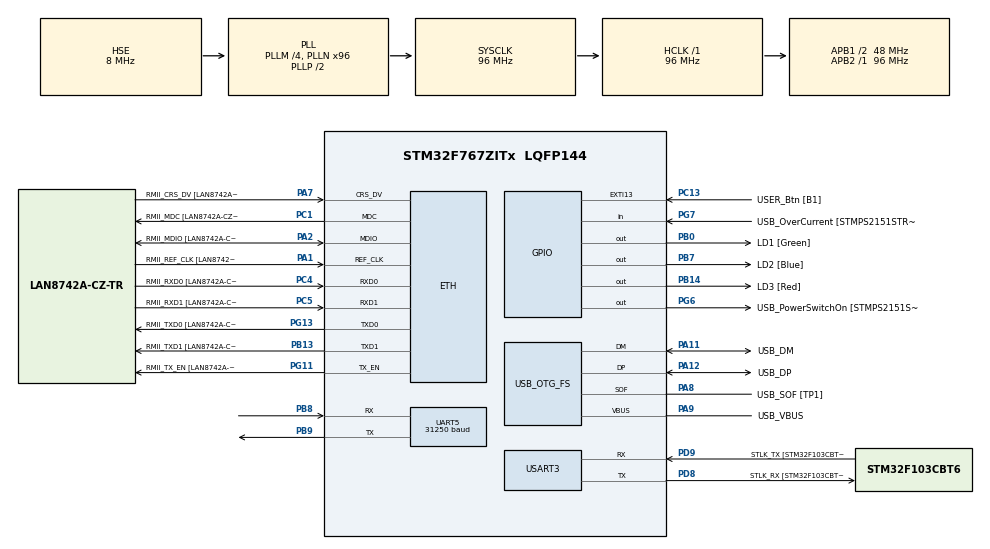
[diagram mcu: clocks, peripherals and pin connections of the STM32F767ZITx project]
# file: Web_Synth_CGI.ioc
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ETH.MediaInterface=ETH_MEDIA_INTERFACE_RMII
ETH.PHY_Name=LAN8742A_PHY_ADDRESS
ETH.PHY_Value=0
ETH.PhyAddress=0
LWIP.LWIP_HTTPD=1
LWIP.LWIP_HTTPD_CGI=1
LWIP.LWIP_HTTPD_MAX_TAG_NAME_LEN=16
LWIP.LWIP_HTTPD_SSI=1
LWIP.Version=v2.1.2_Cube
Mcu.Family=STM32F7
Mcu.Name=STM32F767ZITx
Mcu.Package=LQFP144
NVIC.PriorityGroup=NVIC_PRIORITYGROUP_4
PA1.GPIO_Label=RMII_REF_CLK [LAN8742A-CZ-TR_REFCLK0]
PA1.Mode=RMII
PA1.Signal=ETH_REF_CLK
PA10.GPIO_Label=USB_ID
PA10.Signal=USB_OTG_FS_ID
PA11.GPIO_Label=USB_DM
PA11.Mode=Device_Only
PA11.Signal=USB_OTG_FS_DM
PA12.GPIO_Label=USB_DP
PA12.Mode=Device_Only
PA12.Signal=USB_OTG_FS_DP
PA13.GPIO_Label=TMS
PA13.Mode=Serial_Wire
PA13.Signal=SYS_JTMS-SWDIO
PA14.GPIO_Label=TCK
PA14.Mode=Serial_Wire
PA14.Signal=SYS_JTCK-SWCLK
PA2.GPIO_Label=RMII_MDIO [LAN8742A-CZ-TR_MDIO]
PA2.Mode=RMII
PA2.Signal=ETH_MDIO
PA7.GPIO_Label=RMII_CRS_DV [LAN8742A-CZ-TR_CRS_DV]
PA7.Mode=RMII
PA7.Signal=ETH_CRS_DV
PA8.GPIO_Label=USB_SOF [TP1]
PA8.Mode=Activate_SOF_FS
PA8.Signal=USB_OTG_FS_SOF
PA9.GPIO_Label=USB_VBUS
PA9.Mode=Activate_VBUS
PA9.Signal=USB_OTG_FS_VBUS
PB0.GPIO_Label=LD1 [Green]
PB0.Signal=GPIO_Output
PB13.GPIO_Label=RMII_TXD1 [LAN8742A-CZ-TR_TXD1]
PB13.Mode=RMII
PB13.Signal=ETH_TXD1
PB14.GPIO_Label=LD3 [Red]
PB14.GPIO_PuPd=GPIO_PULLUP
PB14.Signal=GPIO_Output
PB3.GPIO_Label=SWO
PB3.Signal=SYS_JTDO-SWO
PB7.GPIO_Label=LD2 [Blue]
PB7.GPIO_PuPd=GPIO_PULLUP
PB7.Signal=GPIO_Output
PB8.Mode=Asynchronous
PB8.Signal=UART5_RX
PB9.Mode=Asynchronous
PB9.Signal=UART5_TX
PC1.GPIO_Label=RMII_MDC [LAN8742A-CZ-TR_MDC]
PC1.Mode=RMII
PC1.Signal=ETH_MDC
PC13.GPIO_Label=USER_Btn [B1]
PC13.Signal=GPXTI13
PC14/OSC32_IN.Mode=LSE-External-Oscillator
PC14/OSC32_IN.Signal=RCC_OSC32_IN
PC15/OSC32_OUT.Mode=LSE-External-Oscillator
PC15/OSC32_OUT.Signal=RCC_OSC32_OUT
PC4.GPIO_Label=RMII_RXD0 [LAN8742A-CZ-TR_RXD0]
PC4.Mode=RMII
PC4.Signal=ETH_RXD0
PC5.GPIO_Label=RMII_RXD1 [LAN8742A-CZ-TR_RXD1]
PC5.Mode=RMII
PC5.Signal=ETH_RXD1
PD8.GPIO_Label=STLK_RX [STM32F103CBT6_PA3]
PD8.Mode=Asynchronous
PD8.Signal=USART3_TX
PD9.GPIO_Label=STLK_TX [STM32F103CBT6_PA2]
PD9.Mode=Asynchronous
PD9.Signal=USART3_RX
PG11.GPIO_Label=RMII_TX_EN [LAN8742A-CZ-TR_TXEN]
PG11.Mode=RMII
PG11.Signal=ETH_TX_EN
PG13.GPIO_Label=RMII_TXD0 [LAN8742A-CZ-TR_TXD0]
PG13.Mode=RMII
PG13.Signal=ETH_TXD0
PG6.GPIO_Label=USB_PowerSwitchOn [STMPS2151STR_EN]
PG6.Signal=GPIO_Output
PG7.GPIO_Label=USB_OverCurrent [STMPS2151STR_FAULT]
PG7.Signal=GPIO_Input
PH0/OSC_IN.GPIO_Label=MCO [STM32F103CBT6_PA8]
PH0/OSC_IN.Mode=HSE-External-Clock-Source
PH0/OSC_IN.Signal=RCC_OSC_IN
PH1/OSC_OUT.Mode=HSE-External-Clock-Source
PH1/OSC_OUT.Signal=RCC_OSC_OUT
ProjectManager.HeapSize=0x200
ProjectManager.StackSize=0x400
ProjectManager.TargetToolchain=STM32CubeIDE
RCC.48MHZClocksFreq_Value=24000000
RCC.AHBFreq_Value=96000000
RCC.APB1CLKDivider=RCC_HCLK_DIV2
RCC.APB1Freq_Value=48000000
RCC.APB1TimFreq_Value=96000000
RCC.APB2Freq_Value=96000000
RCC.APB2TimFreq_Value=96000000
RCC.CortexFreq_Value=96000000
RCC.HCLKFreq_Value=96000000
RCC.HSE_VALUE=8000000
RCC.HSI_VALUE=16000000
RCC.PLLM=4
RCC.PLLMUL=RCC_PLL_MUL9
RCC.PLLN=96
RCC.PLLQ=4
RCC.PRESCALERUSB=RCC_USBCLKSOURCE_PLL_DIV1_5
RCC.SYSCLKFreq_VALUE=96000000
RCC.SYSCLKSource=RCC_SYSCLKSOURCE_PLLCLK
RCC.SYSCLKSourceVirtual=RCC_SYSCLKSOURCE_PLLCLK
RCC.USBFreq_Value=48000000
RCC.VCOOutputFreq_Value=192000000
UART5.BaudRate=31250
USART3.VirtualMode-Asynchronous=VM_ASYNC
USB_OTG_FS.VirtualMode=Device_Only
VP_LWIP_VS_Enabled.Mode=Enabled
board=NUCLEO-F767ZI

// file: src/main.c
/* USER CODE BEGIN Header */
/**
  ******************************************************************************
  * @file           : main.c
  * @brief          : Main program body
  ******************************************************************************
  * @attention
  *
  * <h2><center>&copy; Copyright (c) 2021 STMicroelectronics.
  * All rights reserved.</center></h2>
  *
  * This software component is licensed by ST under BSD 3-Clause license,
  * the "License"; You may not use this file except in compliance with the
  * License. You may obtain a copy of the License at:
  *                        opensource.org/licenses/BSD-3-Clause
  *
  ******************************************************************************
  */
/* USER CODE END Header */
#include "main.h"
#include "lwip.h"

/* USER CODE BEGIN Includes */

// including httpd.h [- HTTPd #1 -]
#include "lwip/apps/httpd.h"

// we include String.h for the strcmp() function [= CGI #1 =]
#include <String.h>

// we include this library to be able to use boolean variables for SSI
#include <Stdbool.h>

bool LD1ON = false; // this variable will indicate if the LD3 LED on the board is ON or not
bool LD2ON = false; // this variable will indicate if our LD2 LED on the board is ON or not

/* USER CODE END Includes */

UART_HandleTypeDef huart5;
UART_HandleTypeDef huart3;

PCD_HandleTypeDef hpcd_USB_OTG_FS;

/* USER CODE BEGIN PV */

bool onOff[15];

// just declaring the function for the compiler [= CGI #2 =]
const char* LedCGIhandler(int iIndex, int iNumParams, char *pcParam[],
char *pcValue[]);

// in our SHTML file <form method="get" action="/leds.cgi"> [= CGI #3 =]
const tCGI LedCGI = { "/leds.cgi", LedCGIhandler };

// [= CGI #4 =]
tCGI theCGItable[1];

// just declaring SSI handler function [* SSI #1 *]
u16_t mySSIHandler(int iIndex, char *pcInsert, int iInsertLen);

// [= SSI #2 =]
#define numSSItags 15

// [= SSI #1 =]
const char *theSSItags[numSSItags] = { "tag1", "tag2", "tag3", "tag4", "tag5", "tag6", "tag7", "tag8","tag9", "tag10", "tag11", "tag12", "tag13", "tag14" ,"tag15" };

// strings to be returned by SSI handler, depending on whether variable is "checked" or "unchecked"
// REPLACE with sprintf string builder, to save memory
char * myStr[2][numSSItags] = {{
		"<input value = \"1\" name=\"led\" class = \"wshape\" type = \"checkbox\" onclick = \"handleClick(this)\">",
		"<input value = \"2\" name=\"led\" class = \"wshape\" onclick = \"handleClick(this)\" type = \"checkbox\">",
		"<input value = \"3\" name=\"led\" class = \"wshape\" onclick = \"handleClick(this)\" type = \"checkbox\">",
		"<input value = \"4\" name=\"led\" class = \"wshape\" onclick = \"handleClick(this)\" type = \"checkbox\">",
		"<input value = \"5\" name=\"led\" class = \"octave\" onclick = \"handleClick(this)\" type = \"checkbox\">",
		"<input value = \"6\" name=\"led\" class = \"octave\" onclick = \"handleClick(this)\" type = \"checkbox\">",
		"<input value = \"7\" name=\"led\" class = \"octave\" onclick = \"handleClick(this)\" type = \"checkbox\">",
		"<input value = \"8\" name=\"led\" class = \"octave\" onclick = \"handleClick(this)\" type = \"checkbox\">",
		"<input value = \"9\" name=\"led\" class = \"octave\" onclick = \"handleClick(this)\" type = \"checkbox\">",
		"<input value = \"10\" name=\"led\" class = \"filt\" onclick = \"handleClick(this)\" type = \"checkbox\">",
		"<input value = \"11\" name=\"led\" class = \"filt\" onclick = \"handleClick(this)\" type = \"checkbox\">",
		"<input value = \"12\" name=\"led\" class = \"filt\" onclick = \"handleClick(this)\" type = \"checkbox\">",
		"<input value = \"13\" name=\"led\" class = \"filt\" onclick = \"handleClick(this)\" type = \"checkbox\">",
		"<input value = \"14\" name=\"led\" class = \"audioFX\" onclick = \"handleClick(this)\" type = \"checkbox\">",
		"<input value = \"15\" name=\"led\" class = \"audioFX\" onclick = \"handleClick(this)\" type = \"checkbox\">"},

		{"<input value = \"1\" name=\"led\" class = \"wshape\" onclick = \"handleClick(this)\" type = \"checkbox\"checked>",
		"<input value = \"2\" name=\"led\" class = \"wshape\" onclick = \"handleClick(this)\" type = \"checkbox\"checked>",
		"<input value = \"3\" name=\"led\" class = \"wshape\" onclick = \"handleClick(this)\" type = \"checkbox\"checked>",
		"<input value = \"4\" name=\"led\" class = \"wshape\" onclick = \"handleClick(this)\" type = \"checkbox\"checked>",
		"<input value = \"5\" name=\"led\" class = \"octave\" onclick = \"handleClick(this)\" type = \"checkbox\"checked>",
		"<input value = \"6\" name=\"led\" class = \"octave\" onclick = \"handleClick(this)\" type = \"checkbox\"checked>",
		"<input value = \"7\" name=\"led\" class = \"octave\" onclick = \"handleClick(this)\" type = \"checkbox\"checked>",
		"<input value = \"8\" name=\"led\" class = \"octave\" onclick = \"handleClick(this)\" type = \"checkbox\"checked>",
		"<input value = \"9\" name=\"led\" class = \"octave\" onclick = \"handleClick(this)\" type = \"checkbox\"checked>",
		"<input value = \"10\" name=\"led\" class = \"filt\" onclick = \"handleClick(this)\" type = \"checkbox\"checked>",
		"<input value = \"11\" name=\"led\" class = \"filt\" onclick = \"handleClick(this)\" type = \"checkbox\"checked>",
		"<input value = \"12\" name=\"led\" class = \"filt\" onclick = \"handleClick(this)\" type = \"checkbox\"checked>",
		"<input value = \"13\" name=\"led\" class = \"filt\" onclick = \"handleClick(this)\" type = \"checkbox\"checked>",
		"<input value = \"14\" name=\"led\" class = \"audioFX\" onclick = \"handleClick(this)\" type = \"checkbox\"checked>",
		"<input value = \"15\" name=\"led\" class = \"audioFX\" onclick = \"handleClick(this)\" type = \"checkbox\"checked>"

}};

/* USER CODE END PV */

void SystemClock_Config(void);
static void MX_GPIO_Init(void);
static void MX_USART3_UART_Init(void);
static void MX_USB_OTG_FS_PCD_Init(void);
static void MX_UART5_Init(void);

/* USER CODE BEGIN 0 */
// the actual function for handling CGI [= CGI #5 =]
const char* LedCGIhandler(int iIndex, int iNumParams, char *pcParam[],
char *pcValue[]) {

	uint32_t i = 0;
	const int numChannels = 3;
	uint8_t ctrData[numChannels];

	if (iIndex == 0) {

		//DEBUG -- turning the LED lights off
		HAL_GPIO_WritePin(LD2_GPIO_Port, LD2_Pin, GPIO_PIN_RESET);
		HAL_GPIO_WritePin(LD3_GPIO_Port, LD3_Pin, GPIO_PIN_RESET);
		HAL_GPIO_WritePin(GPIOB, GPIO_PIN_0, GPIO_PIN_RESET);

		// set perams to "unchecked"
		for (int i = 0; i < numSSItags; i++)
		{
			onOff[i] = false;
		}
	 }
	for (i = 0; i < iNumParams; i++) {

		// cycle through perameters
		for (int x = 0; x < 15; x++) {

			char num;
			sprintf(num, "%d", x + 1);

			// find "checked" perameters
			if (strcmp(pcValue[i], num) == 0) {

				//DEBUG
				if (x == 0)
				{
					HAL_GPIO_WritePin(LD3_GPIO_Port, LD3_Pin, GPIO_PIN_SET);
				} else if (x == 1)
				{
					HAL_GPIO_WritePin(LD2_GPIO_Port, LD2_Pin, GPIO_PIN_SET);
				} else if (x == 2)
				{
					HAL_GPIO_WritePin(GPIOB, GPIO_PIN_0, GPIO_PIN_SET);
				}

				onOff[x] = true;

				// select appropriate txData
				if (x < 4)		// wshape
				{
					ctrData[0] = x;
					uint8_t txData[3] = {0x90, 0x00, ctrData[0]};
					HAL_UART_Transmit(&huart5, txData, 3, 10);

				} else if (x < 9)		//octave
				{
					ctrData[1] = x - 4;
					uint8_t txData[3] = {0x90, 0x01, ctrData[1]};
					HAL_UART_Transmit(&huart5, txData, 3, 10);

				} else if (x < 13)		//filter
				{
					ctrData[2] = x - 9;
					uint8_t txData[3] = {0x90, 0x02, ctrData[2]};
					HAL_UART_Transmit(&huart5, txData, 3, 10);

				}
				else if (x < 15)		//delayTog
				{
					ctrData[3] = x - 13;
					uint8_t txData[3] = {0x90, 0x03, ctrData[3]};
					HAL_UART_Transmit(&huart5, txData, 3, 10);
				}
			}
		}
	}

	// the extension .shtml for SSI to work
	return "/index.shtml";

} // END [= CGI #5 =]

                    // function to initialize CGI [= CGI #6 =]
void myCGIinit(void) {
//add LED control CGI to the table
theCGItable[0] = LedCGI;
//give the table to the HTTP server
http_set_cgi_handlers(theCGItable, 1);
} // END [= CGI #6 =]

// the actual function for SSI [* SSI #4 *]
u16_t mySSIHandler(int iIndex, char *pcInsert, int iInsertLen) {

	char * s;

	if (onOff[iIndex] == false)
	{
		s = myStr[0][iIndex];

	} else if (onOff[iIndex] == true)

	{
		s = myStr[1][iIndex];
	}

	strcpy(pcInsert, s);

	return strlen(s);

}

// function to initialize SSI [* SSI #5 *]
void mySSIinit(void) {

	http_set_ssi_handler(mySSIHandler, (char const**) theSSItags,
	numSSItags);
 }

/* USER CODE END 0 */

int main(void)
{

  /* MCU Configuration--------------------------------------------------------*/

  /* Reset of all peripherals, Initializes the Flash interface and the Systick. */
  HAL_Init();

  /* Configure the system clock */
  SystemClock_Config();

  /* Initialize all configured peripherals */
  MX_GPIO_Init();
  MX_USART3_UART_Init();
  MX_USB_OTG_FS_PCD_Init();
  MX_LWIP_Init();
  MX_UART5_Init();
  /* USER CODE BEGIN 2 */

	// initializing the HTTPd [-HTTPd #2-]
	httpd_init();

	// initializing CGI  [= CGI #7 =]
	myCGIinit();

	// initializing SSI [* SSI #6 *]
	mySSIinit();

  /* USER CODE END 2 */

  /* Infinite loop */
  /* USER CODE BEGIN WHILE */
                        while (1) {

                            // starting the LWIP process [-HTTPd #3-]
                            MX_LWIP_Process();

    /* USER CODE END WHILE */

                        }
}

void SystemClock_Config(void)
{
  RCC_OscInitTypeDef RCC_OscInitStruct = {0};
  RCC_ClkInitTypeDef RCC_ClkInitStruct = {0};
  RCC_PeriphCLKInitTypeDef PeriphClkInitStruct = {0};

  /** Configure LSE Drive Capability
  */
  HAL_PWR_EnableBkUpAccess();
  /** Configure the main internal regulator output voltage
  */
  __HAL_RCC_PWR_CLK_ENABLE();
  __HAL_PWR_VOLTAGESCALING_CONFIG(PWR_REGULATOR_VOLTAGE_SCALE3);
  /** Initializes the RCC Oscillators according to the specified parameters
  * in the RCC_OscInitTypeDef structure.
  */
  RCC_OscInitStruct.OscillatorType = RCC_OSCILLATORTYPE_HSE;
  RCC_OscInitStruct.HSEState = RCC_HSE_BYPASS;
  RCC_OscInitStruct.PLL.PLLState = RCC_PLL_ON;
  RCC_OscInitStruct.PLL.PLLSource = RCC_PLLSOURCE_HSE;
  RCC_OscInitStruct.PLL.PLLM = 4;
  RCC_OscInitStruct.PLL.PLLN = 96;
  RCC_OscInitStruct.PLL.PLLP = RCC_PLLP_DIV2;
  RCC_OscInitStruct.PLL.PLLQ = 4;
  if (HAL_RCC_OscConfig(&RCC_OscInitStruct) != HAL_OK)
  {
    Error_Handler();
  }
  /** Activate the Over-Drive mode
  */
  if (HAL_PWREx_EnableOverDrive() != HAL_OK)
  {
    Error_Handler();
  }
  /** Initializes the CPU, AHB and APB buses clocks
  */
  RCC_ClkInitStruct.ClockType = RCC_CLOCKTYPE_HCLK|RCC_CLOCKTYPE_SYSCLK
                              |RCC_CLOCKTYPE_PCLK1|RCC_CLOCKTYPE_PCLK2;
  RCC_ClkInitStruct.SYSCLKSource = RCC_SYSCLKSOURCE_PLLCLK;
  RCC_ClkInitStruct.AHBCLKDivider = RCC_SYSCLK_DIV1;
  RCC_ClkInitStruct.APB1CLKDivider = RCC_HCLK_DIV2;
  RCC_ClkInitStruct.APB2CLKDivider = RCC_HCLK_DIV1;

  if (HAL_RCC_ClockConfig(&RCC_ClkInitStruct, FLASH_LATENCY_3) != HAL_OK)
  {
    Error_Handler();
  }
  PeriphClkInitStruct.PeriphClockSelection = RCC_PERIPHCLK_USART3|RCC_PERIPHCLK_UART5
                              |RCC_PERIPHCLK_CLK48;
  PeriphClkInitStruct.Usart3ClockSelection = RCC_USART3CLKSOURCE_PCLK1;
  PeriphClkInitStruct.Uart5ClockSelection = RCC_UART5CLKSOURCE_PCLK1;
  PeriphClkInitStruct.Clk48ClockSelection = RCC_CLK48SOURCE_PLL;
  if (HAL_RCCEx_PeriphCLKConfig(&PeriphClkInitStruct) != HAL_OK)
  {
    Error_Handler();
  }
}

static void MX_UART5_Init(void)
{

  huart5.Instance = UART5;
  huart5.Init.BaudRate = 31250;
  huart5.Init.WordLength = UART_WORDLENGTH_8B;
  huart5.Init.StopBits = UART_STOPBITS_1;
  huart5.Init.Parity = UART_PARITY_NONE;
  huart5.Init.Mode = UART_MODE_TX_RX;
  huart5.Init.HwFlowCtl = UART_HWCONTROL_NONE;
  huart5.Init.OverSampling = UART_OVERSAMPLING_16;
  huart5.Init.OneBitSampling = UART_ONE_BIT_SAMPLE_DISABLE;
  huart5.AdvancedInit.AdvFeatureInit = UART_ADVFEATURE_NO_INIT;
  if (HAL_UART_Init(&huart5) != HAL_OK)
  {
    Error_Handler();
  }

}

static void MX_USART3_UART_Init(void)
{

  huart3.Instance = USART3;
  huart3.Init.BaudRate = 115200;
  huart3.Init.WordLength = UART_WORDLENGTH_8B;
  huart3.Init.StopBits = UART_STOPBITS_1;
  huart3.Init.Parity = UART_PARITY_NONE;
  huart3.Init.Mode = UART_MODE_TX_RX;
  huart3.Init.HwFlowCtl = UART_HWCONTROL_NONE;
  huart3.Init.OverSampling = UART_OVERSAMPLING_16;
  huart3.Init.OneBitSampling = UART_ONE_BIT_SAMPLE_DISABLE;
  huart3.AdvancedInit.AdvFeatureInit = UART_ADVFEATURE_NO_INIT;
  if (HAL_UART_Init(&huart3) != HAL_OK)
  {
    Error_Handler();
  }

}

static void MX_USB_OTG_FS_PCD_Init(void)
{

  hpcd_USB_OTG_FS.Instance = USB_OTG_FS;
  hpcd_USB_OTG_FS.Init.dev_endpoints = 6;
  hpcd_USB_OTG_FS.Init.speed = PCD_SPEED_FULL;
  hpcd_USB_OTG_FS.Init.dma_enable = DISABLE;
  hpcd_USB_OTG_FS.Init.phy_itface = PCD_PHY_EMBEDDED;
  hpcd_USB_OTG_FS.Init.Sof_enable = ENABLE;
  hpcd_USB_OTG_FS.Init.low_power_enable = DISABLE;
  hpcd_USB_OTG_FS.Init.lpm_enable = DISABLE;
  hpcd_USB_OTG_FS.Init.vbus_sensing_enable = ENABLE;
  hpcd_USB_OTG_FS.Init.use_dedicated_ep1 = DISABLE;
  if (HAL_PCD_Init(&hpcd_USB_OTG_FS) != HAL_OK)
  {
    Error_Handler();
  }

}

static void MX_GPIO_Init(void)
{
  GPIO_InitTypeDef GPIO_InitStruct = {0};

  /* GPIO Ports Clock Enable */
  __HAL_RCC_GPIOC_CLK_ENABLE();
  __HAL_RCC_GPIOH_CLK_ENABLE();
  __HAL_RCC_GPIOA_CLK_ENABLE();
  __HAL_RCC_GPIOB_CLK_ENABLE();
  __HAL_RCC_GPIOD_CLK_ENABLE();
  __HAL_RCC_GPIOG_CLK_ENABLE();

  /*Configure GPIO pin Output Level */
  HAL_GPIO_WritePin(GPIOB, LD1_Pin|LD3_Pin|LD2_Pin, GPIO_PIN_RESET);

  /*Configure GPIO pin Output Level */
  HAL_GPIO_WritePin(USB_PowerSwitchOn_GPIO_Port, USB_PowerSwitchOn_Pin, GPIO_PIN_RESET);

  /*Configure GPIO pin : USER_Btn_Pin */
  GPIO_InitStruct.Pin = USER_Btn_Pin;
  GPIO_InitStruct.Mode = GPIO_MODE_IT_RISING;
  GPIO_InitStruct.Pull = GPIO_NOPULL;
  HAL_GPIO_Init(USER_Btn_GPIO_Port, &GPIO_InitStruct);

  /*Configure GPIO pin : LD1_Pin */
  GPIO_InitStruct.Pin = LD1_Pin;
  GPIO_InitStruct.Mode = GPIO_MODE_OUTPUT_PP;
  GPIO_InitStruct.Pull = GPIO_NOPULL;
  GPIO_InitStruct.Speed = GPIO_SPEED_FREQ_LOW;
  HAL_GPIO_Init(LD1_GPIO_Port, &GPIO_InitStruct);

  /*Configure GPIO pins : LD3_Pin LD2_Pin */
  GPIO_InitStruct.Pin = LD3_Pin|LD2_Pin;
  GPIO_InitStruct.Mode = GPIO_MODE_OUTPUT_PP;
  GPIO_InitStruct.Pull = GPIO_PULLUP;
  GPIO_InitStruct.Speed = GPIO_SPEED_FREQ_LOW;
  HAL_GPIO_Init(GPIOB, &GPIO_InitStruct);

  /*Configure GPIO pin : USB_PowerSwitchOn_Pin */
  GPIO_InitStruct.Pin = USB_PowerSwitchOn_Pin;
  GPIO_InitStruct.Mode = GPIO_MODE_OUTPUT_PP;
  GPIO_InitStruct.Pull = GPIO_NOPULL;
  GPIO_InitStruct.Speed = GPIO_SPEED_FREQ_LOW;
  HAL_GPIO_Init(USB_PowerSwitchOn_GPIO_Port, &GPIO_InitStruct);

  /*Configure GPIO pin : USB_OverCurrent_Pin */
  GPIO_InitStruct.Pin = USB_OverCurrent_Pin;
  GPIO_InitStruct.Mode = GPIO_MODE_INPUT;
  GPIO_InitStruct.Pull = GPIO_NOPULL;
  HAL_GPIO_Init(USB_OverCurrent_GPIO_Port, &GPIO_InitStruct);

}

void Error_Handler(void)
{
  __disable_irq();
  while (1)
  {
  }
}

/************************ (C) COPYRIGHT STMicroelectronics *****END OF FILE****/
